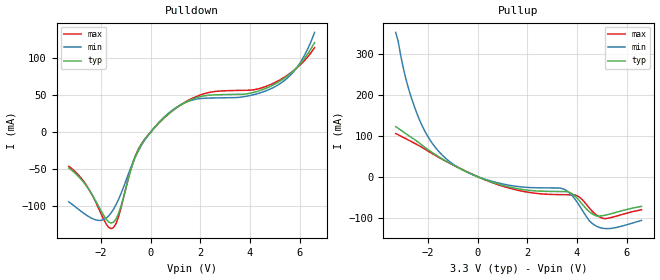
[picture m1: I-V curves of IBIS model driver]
| IBIS file buffer.ibs created by PYS2IBIS3
| Missouri S&T EMC Lab
[IBIS Ver] 3.2
[File Name] buffer.ibs
[File Rev] 0
[Date] April 1, 2004
[Source] From MegaFLOPS Inc. layout and silicon models.
[Notes] I really wouldn't try to use this driver.  It's really bad.
[Disclaimer] This file is only for demonstration purposes. It describes
 a really crummy driver.
 You can put blank lines in any of these sections. (But s2ibis3 won't
 print them.)
 Of course, as noted in the documentation, any text in these sections is
 truncated at 1KB.
[Copyright] Copyright 2004 MegaFLOPS Inc.
[Component] MCM Driver 1
[Manufacturer] MegaFLOPS Inc.
[Package]
| variable   typ   min   max
R_pkg 0 NA NA
L_pkg 0H NA NA
C_pkg 0F NA NA
[Pin]  signal_name   model_name   R_pin   L_pin   C_pin
vdd   vdd   POWER
gnd   gnd   GND
in   in   dummy
out   out   driver
| End of Component
[Model] dummy
Model_type Input
Polarity Non-Inverting
Enable Active-High
Vinl  = 0.8V
Vinh  = 2V
C_comp 1.2000pF 1.0000pF 1.4000pF
[Temperature Range] 27.0000 100.0000 0.0000
[Voltage Range] 3.3000V 3.0000V 3.6000V
[Pullup Reference] 3.3000V 3.0000V 3.6000V
[Pulldown Reference] 0V 0V 0V
[POWER Clamp Reference] 3.3000V 3.0000V 3.6000V
[GND Clamp Reference] 0V 0V 0V
| End of Model
| Models and submodels in the file (2): driver (Output), dummy (Input)
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[Model] driver
Model_type Output
Polarity Non-Inverting
Enable Active-High
Vinl  = 0.8V
Vinh  = 2V
C_comp 1.2000pF 1.0000pF 1.4000pF
[Temperature Range] 27.0000 100.0000 0.0000
[Voltage Range] 3.3000V 3.0000V 3.6000V
[Pullup Reference] 3.3000V 3.0000V 3.6000V
[Pulldown Reference] 0V 0V 0V
[POWER Clamp Reference] 3.3000V 3.0000V 3.6000V
[GND Clamp Reference] 0V 0V 0V
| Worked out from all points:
|   slope of the pulldown table from 0 to 0.495 V, typ, clamps not added: 27.4 ohm
|   slope of the pullup table from 0 to 0.495 V, typ, clamps not added: 42.7 ohm
[Pulldown]
| Voltage   I(typ)   I(min)   I(max)
-3.3V     -48.93mA   -94.81mA   -46.54mA
-2.2V     -94.65mA   -119.5mA   -96.36mA
-1.8V     -118.2mA   -117mA     -124.6mA
-1.5V     -122.5mA   -104.9mA   -129.8mA
-1.3V     -110.9mA   -91.68mA   -115.3mA
-800mV    -51.3mA    -48.05mA   -50.03mA
-500mV    -24.59mA   -25.57mA   -23.54mA
600mV     21.34mA    22.16mA    20.91mA
2.1V      48.76mA    45.67mA    51.37mA
5V        65.13mA    61.45mA    67.15mA
5.9V      87.99mA    88.06mA    87.42mA
6.6V      121.3mA    135.2mA    114.5mA
[Pullup]
| Voltage   I(typ)   I(min)   I(max)
-3.3V     122mA      351.7mA    105.1mA
-2.9V     105.2mA    241mA      92.79mA
-2.4V     84.36mA    147.1mA    76.85mA
-1.8V     57.62mA    79.09mA    55.14mA
-1.1V     32.08mA    35.42mA    32.04mA
-200mV    5.278mA    4.741mA    5.561mA
900mV     -19.42mA   -16.35mA   -21.23mA
3.5V      -36.42mA   -31.25mA   -44.04mA
4.1V      -58.78mA   -70.62mA   -49.84mA
4.5V      -85.43mA   -107.5mA   -76.41mA
4.9V      -96.11mA   -123.8mA   -98.02mA
6.6V      -72.53mA   -106.7mA   -80.71mA
[Ramp]
| variable   typ   min   max
dV/dt_r 1.8312/0.1696n 1.6440/0.1935n 2.0076/0.1773n
dV/dt_f 1.8845/0.1525n 1.7182/0.1972n 2.0519/0.1471n
R_load = 500
| End of Model
